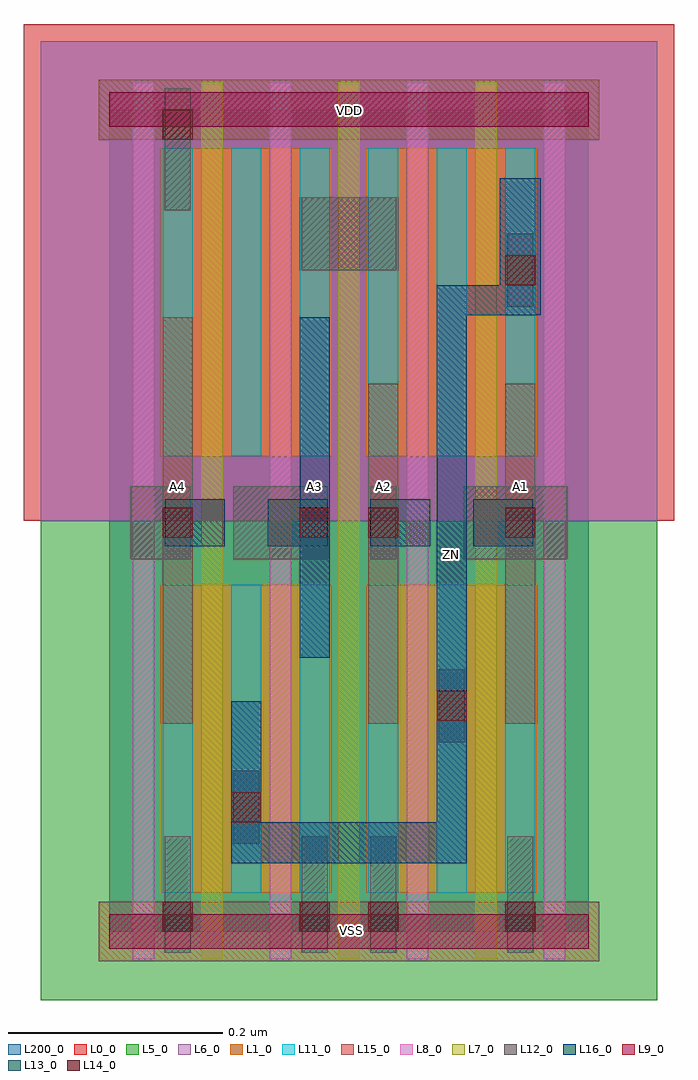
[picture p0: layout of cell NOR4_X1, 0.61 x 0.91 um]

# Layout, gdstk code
import gdstk
lib = gdstk.Library(unit=1e-6, precision=1e-09)
def R(c, l, rs):  # rectangles x0, y0, x1, y1
    for r in rs: c.add(gdstk.rectangle(r[:2], r[2:], *l))
def A(c, l, x, y, w, h, nx, ny, dx, dy):  # array of equal rectangles
    R(c, l, [(x+i*dx, y+j*dy, x+i*dx+w, y+j*dy+h) for i in range(nx) for j in range(ny)])
def P(c, l, *ps):  # polygons
    for p in ps: c.add(gdstk.Polygon(p, *l))
L0_0 = (0, 0)
L1_0 = (1, 0)
L5_0 = (5, 0)
L6_0 = (6, 0)
L7_0 = (7, 0)
L8_0 = (8, 0)
L9_0 = (9, 0)
L11_0 = (11, 0)
L12_0 = (12, 0)
L13_0 = (13, 0)
L14_0 = (14, 0)
L15_0 = (15, 0)
L16_0 = (16, 0)
L200_0 = (200, 0)

nor4_x1 = lib.new_cell('NOR4_X1')
R(nor4_x1, L0_0, [(-0.08,0.384,0.528,0.848)])
R(nor4_x1, L1_0, [(0.048,0.036,0.208,0.324), (0.24,0.036,0.4,0.324), (0.048,0.444,0.208,0.732), (0.24,0.444,0.4,0.732)])
R(nor4_x1, L5_0, [(-0.064,-0.064,0.512,0.384)])
R(nor4_x1, L6_0, [(-0.064,0.384,0.512,0.832)])
A(nor4_x1, L7_0, 0.086, -0.026, 0.02, 0.82, 3, 1, 0.128, 0)
A(nor4_x1, L8_0, 0.022, -0.026, 0.02, 0.82, 4, 1, 0.128, 0)
R(nor4_x1, L9_0, [(0,-0.016,0.448,0.016), (0,0.752,0.448,0.784)])
A(nor4_x1, L11_0, 0.05, 0.036, 0.028, 0.288, 6, 2, 0.064, 0.408)
R(nor4_x1, L12_0, [(0.052,-0.02,0.076,0.089), (0.18,-0.02,0.204,0.089), (0.244,-0.02,0.268,0.089), (0.372,-0.02,0.396,0.089), (0.116,0.082,0.14,0.15), (0.308,0.177,0.332,0.245), (0.02,0.348,0.076,0.416), (0.116,0.348,0.204,0.416), (0.244,0.348,0.268,0.416), (0.331,0.348,0.428,0.416), (0.372,0.584,0.396,0.652), (0.18,0.618,0.268,0.686), (0.052,0.674,0.076,0.788)])
A(nor4_x1, L13_0, 0.052, 0.36, 0.056, 0.044, 4, 1, 0.096, 0)
R(nor4_x1, L14_0, [(0.05,0,0.078,0.028), (0.178,0,0.206,0.028), (0.242,0,0.27,0.028), (0.37,0,0.398,0.028), (0.114,0.102,0.142,0.13), (0.306,0.197,0.334,0.225), (0.05,0.368,0.078,0.396), (0.178,0.368,0.206,0.396), (0.242,0.368,0.27,0.396), (0.37,0.368,0.398,0.396), (0.37,0.604,0.398,0.632), (0.05,0.74,0.078,0.768)])
R(nor4_x1, L15_0, [(-0.01,-0.028,0.458,0.028), (0.05,0.194,0.078,0.574), (0.242,0.194,0.27,0.512), (0.37,0.194,0.398,0.512), (-0.01,0.74,0.458,0.796)])
R(nor4_x1, L16_0, [(0.178,0.256,0.206,0.574)])
P(nor4_x1, L16_0, [(0.114,0.064),(0.334,0.064),(0.334,0.576),(0.403,0.576),(0.403,0.704),(0.365,0.704),(0.365,0.604),(0.306,0.604),(0.306,0.102),(0.142,0.102),(0.142,0.215),(0.114,0.215)])
R(nor4_x1, L200_0, [(0,0,0.448,0.768)])
nor4_x1.add(gdstk.Label('VSS', (0.226,0.001), layer=15, texttype=20))
nor4_x1.add(gdstk.Label('A4', (0.064,0.416), layer=15, texttype=20))
nor4_x1.add(gdstk.Label('A2', (0.256,0.416), layer=15, texttype=20))
nor4_x1.add(gdstk.Label('A1', (0.384,0.416), layer=15, texttype=20))
nor4_x1.add(gdstk.Label('VDD', (0.224,0.767), layer=15, texttype=20))
nor4_x1.add(gdstk.Label('A3', (0.192,0.416), layer=16, texttype=20))
nor4_x1.add(gdstk.Label('ZN', (0.32,0.352), layer=16, texttype=20))

lib.write_gds('NOR4_X1.gds')
